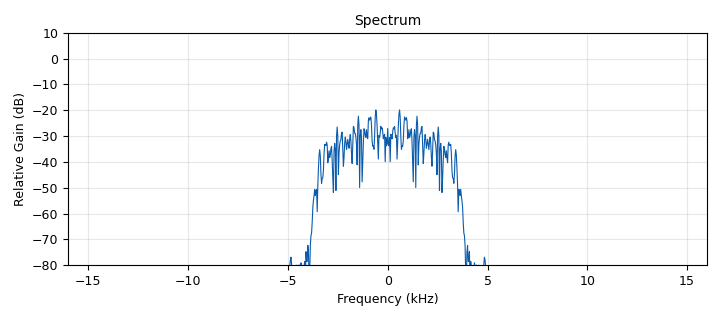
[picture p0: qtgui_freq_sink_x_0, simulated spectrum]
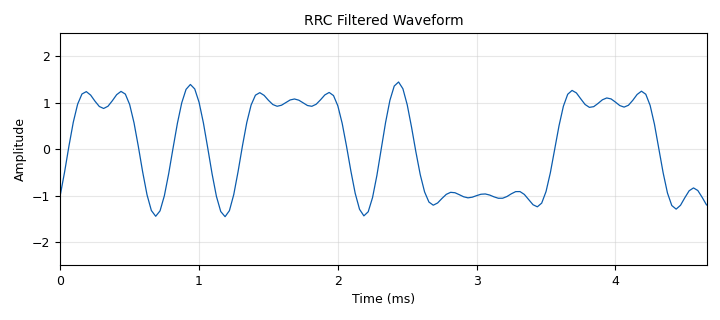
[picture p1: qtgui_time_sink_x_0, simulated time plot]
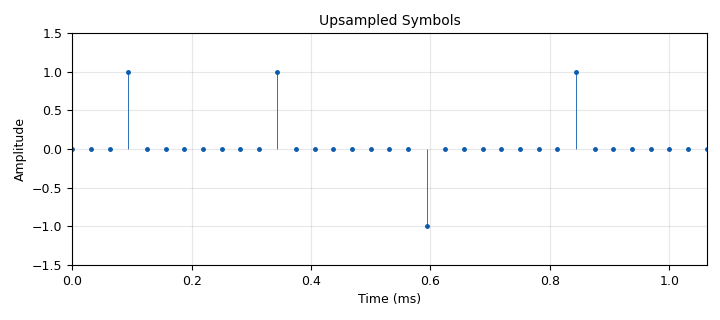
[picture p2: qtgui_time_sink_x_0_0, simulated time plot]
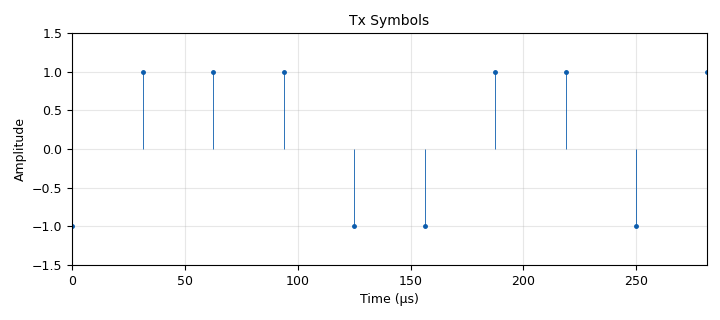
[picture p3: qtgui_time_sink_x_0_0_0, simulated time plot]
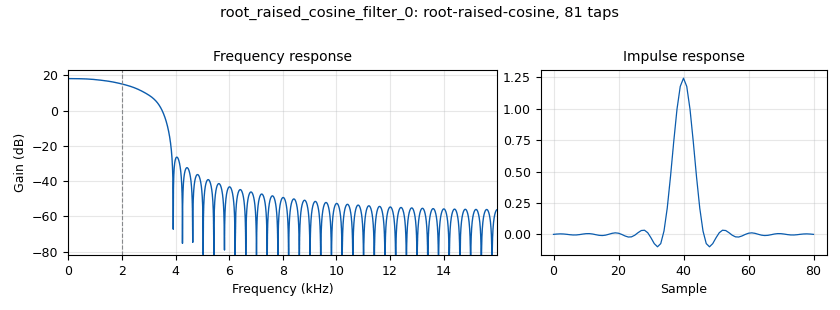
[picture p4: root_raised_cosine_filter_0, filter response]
options:
  parameters:
    author: Qasim Chaudhari
    generate_options: qt_gui
    id: pam_tx_rrc
    output_language: python
    title: PAM Tx RRC
  states: {}

blocks:
- name: excess_bw
  id: variable_qtgui_chooser
  parameters:
    label: Excess Bandwidth
    label0: '0.9'
    label1: '0.5'
    label2: '0.1'
    num_opts: '3'
    option1: '0.5'
    option2: '0.1'
    orient: Qt.QHBoxLayout
    type: real
    value: '0.9'
    widget: radio_buttons
  states: {}
- name: samp_per_sym
  id: variable
  parameters:
    value: '8'
  states: {}
- name: samp_rate
  id: variable
  parameters:
    value: '32000'
  states: {}
- name: analog_random_source_x_0
  id: analog_random_source_x
  parameters:
    comment: Bits Generation
    max: '2'
    min: '0'
    num_samps: '1000'
    repeat: 'True'
    type: byte
  states: {}
- name: blocks_char_to_float_0
  id: blocks_char_to_float
  parameters:
    scale: '1'
  states: {}
- name: blocks_pack_k_bits_bb_0
  id: blocks_pack_k_bits_bb
  parameters:
    k: '1'
  states: {}
- name: blocks_throttle_0
  id: blocks_throttle
  parameters:
    samples_per_second: samp_rate
    type: byte
  states: {}
- name: digital_map_bb_0
  id: digital_map_bb
  parameters:
    comment: Look-Up Table
    map: (-1,1)
  states: {}
- name: import_0
  id: import
  parameters:
    imports: import numpy as np
  states: {}
- name: interp_fir_filter_xxx_0
  id: interp_fir_filter_xxx
  parameters:
    comment: Upsampler
    interp: samp_per_sym
    taps: np.hstack((1,np.zeros(samp_per_sym-1)))
    type: fff
  states: {}
- name: qtgui_freq_sink_x_0
  id: qtgui_freq_sink_x
  parameters:
    bw: samp_rate
    fc: '0'
    fftsize: '1024'
    grid: 'True'
    gui_hint: 1,3,1,1
    legend: 'False'
    name: Spectrum
    type: float
    wintype: firdes.WIN_BLACKMAN_hARRIS
    ymin: '-80'
  states: {}
- name: qtgui_time_sink_x_0
  id: qtgui_time_sink_x
  parameters:
    grid: 'True'
    gui_hint: 1,2,1,1
    label1: ''
    legend: 'False'
    name: RRC Filtered Waveform
    size: '150'
    srate: samp_rate
    type: float
    width1: '2'
    ymax: '2.5'
    ymin: '-2.5'
  states: {}
- name: qtgui_time_sink_x_0_0
  id: qtgui_time_sink_x
  parameters:
    grid: 'True'
    gui_hint: 1,1,1,1
    label1: ''
    legend: 'False'
    marker1: '0'
    name: Upsampled Symbols
    size: '35'
    srate: samp_rate
    stemplot: 'True'
    type: float
    width1: '2'
    ymax: '1.5'
    ymin: '-1.5'
  states: {}
- name: qtgui_time_sink_x_0_0_0
  id: qtgui_time_sink_x
  parameters:
    grid: 'True'
    gui_hint: 1,0,1,1
    label1: ''
    legend: 'False'
    marker1: '0'
    name: Tx Symbols
    size: '10'
    srate: samp_rate
    stemplot: 'True'
    type: float
    width1: '2'
    ymax: '1.5'
    ymin: '-1.5'
  states: {}
- name: root_raised_cosine_filter_0
  id: root_raised_cosine_filter
  parameters:
    alpha: excess_bw
    comment: Pulse Shaping Filter
    gain: samp_per_sym
    interp: '1'
    ntaps: 10*samp_per_sym+1
    samp_rate: samp_rate
    sym_rate: samp_rate/samp_per_sym
    type: interp_fir_filter_fff
  states: {}

connections:
- [analog_random_source_x_0, '0', blocks_throttle_0, '0']
- [blocks_char_to_float_0, '0', interp_fir_filter_xxx_0, '0']
- [blocks_char_to_float_0, '0', qtgui_time_sink_x_0_0_0, '0']
- [blocks_pack_k_bits_bb_0, '0', digital_map_bb_0, '0']
- [blocks_throttle_0, '0', blocks_pack_k_bits_bb_0, '0']
- [digital_map_bb_0, '0', blocks_char_to_float_0, '0']
- [interp_fir_filter_xxx_0, '0', qtgui_time_sink_x_0_0, '0']
- [interp_fir_filter_xxx_0, '0', root_raised_cosine_filter_0, '0']
- [root_raised_cosine_filter_0, '0', qtgui_freq_sink_x_0, '0']
- [root_raised_cosine_filter_0, '0', qtgui_time_sink_x_0, '0']

metadata:
  file_format: 1
